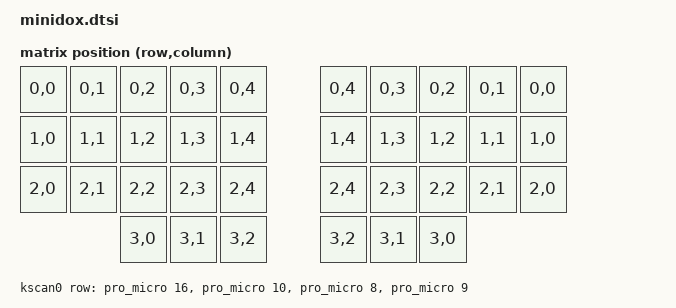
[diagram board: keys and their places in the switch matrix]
/*
 * Copyright (c) 2021 The ZMK Contributors
 *
 * SPDX-License-Identifier: MIT
 */

#include <dt-bindings/zmk/matrix_transform.h>

/ {
    chosen	{
        zmk,kscan = &kscan0;
        zmk,matrix_transform = &default_transform;
    		};

		default_transform: keymap_transform_0 {
		compatible = "zmk,matrix-transform";
		columns = <5>;
		rows = <4>;
		map = <
RC(0,0)   RC(0,1)  RC(0,2)  RC(0,3)  RC(0,4)    RC(0,4) RC(0,3) RC(0,2) RC(0,1) RC(0,0)
RC(1,0)   RC(1,1)  RC(1,2)  RC(1,3)  RC(1,4)    RC(1,4) RC(1,3) RC(1,2) RC(1,1) RC(1,0)
RC(2,0)   RC(2,1)  RC(2,2)  RC(2,3)  RC(2,4)    RC(2,4) RC(2,3) RC(2,2) RC(2,1) RC(2,0)
                   RC(3,0) RC(3,1) RC(3,2)   RC(3,2) RC(3,1) RC(3,0)
		>;
		};

	kscan0: kscan {
	compatible = "zmk,kscan-gpio-matrix";
	label = "KSCAN";

	diode-direction = "col2row";
	row-gpios
		= <&pro_micro 16 (GPIO_ACTIVE_HIGH | GPIO_PULL_DOWN)>
		, <&pro_micro 10 (GPIO_ACTIVE_HIGH | GPIO_PULL_DOWN)>
		, <&pro_micro 8  (GPIO_ACTIVE_HIGH | GPIO_PULL_DOWN)>
		, <&pro_micro 9  (GPIO_ACTIVE_HIGH | GPIO_PULL_DOWN)>
		;
	};
};
